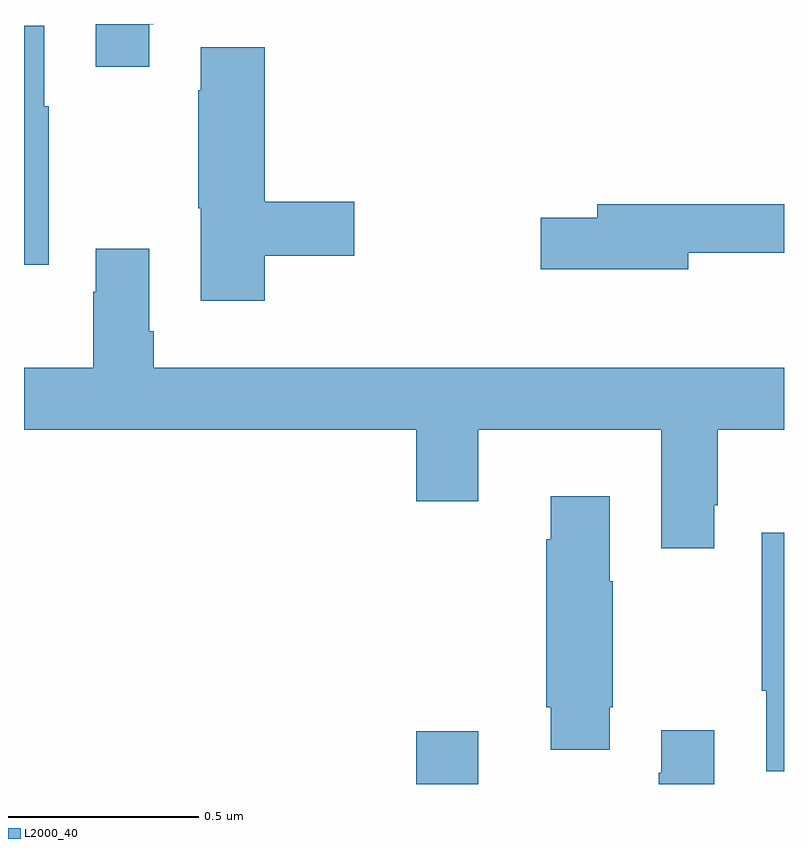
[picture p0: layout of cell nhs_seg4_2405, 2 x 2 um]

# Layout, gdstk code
import gdstk
lib = gdstk.Library(unit=1e-6, precision=1e-09)
def R(c, l, rs):  # rectangles x0, y0, x1, y1
    for r in rs: c.add(gdstk.rectangle(r[:2], r[2:], *l))
def P(c, l, *ps):  # polygons
    for p in ps: c.add(gdstk.Polygon(p, *l))
L2000_40 = (2000, 40)

nhs_seg4_2405 = lib.new_cell('nhs_seg4_2405')
R(nhs_seg4_2405, L2000_40, [(141.032,783.9,141.196,784.039)])
P(nhs_seg4_2405, L2000_40, [(140.329,785.899),(140.342,785.899),(140.342,785.9),(140.189,785.9),(140.189,785.787),(140.329,785.787)],
  [(140.065,785.683),(140.053,785.683),(140.053,785.896),(140,785.896),(140,785.267),(140.065,785.267)],
  [(140.633,785.29),(140.869,785.29),(140.869,785.432),(140.633,785.432),(140.633,785.839),(140.465,785.839),(140.465,785.726),(140.458,785.726),(140.458,785.415),(140.465,785.415),(140.465,785.172),(140.633,785.172)],
  [(141.748,785.298),(142,785.298),(142,785.426),(141.509,785.426),(141.509,785.39),(141.36,785.39),(141.36,785.255),(141.748,785.255)],
  [(141.817,784.633),(141.825,784.633),(141.825,784.832),(142,784.832),(142,784.996),(140.342,784.996),(140.342,785.092),(140.329,785.092),(140.329,785.308),(140.189,785.308),(140.189,785.195),(140.182,785.195),(140.182,784.996),(140,784.996),(140,784.832),(141.032,784.832),(141.032,784.644),(141.196,784.644),(141.196,784.832),(141.677,784.832),(141.677,784.521),(141.817,784.521)],
  [(141.541,784.102),(141.549,784.102),(141.549,784.433),(141.541,784.433),(141.541,784.657),(141.386,784.657),(141.386,784.544),(141.374,784.544),(141.374,784.102),(141.386,784.102),(141.386,783.99),(141.541,783.99)],
  [(142,784.561),(141.942,784.561),(141.942,784.145),(141.953,784.145),(141.953,783.933),(142,783.933)],
  [(141.817,784.042),(141.677,784.042),(141.677,783.929),(141.67,783.929),(141.67,783.9),(141.817,783.9)])

lib.write_gds('nhs_seg4_2405.gds')
